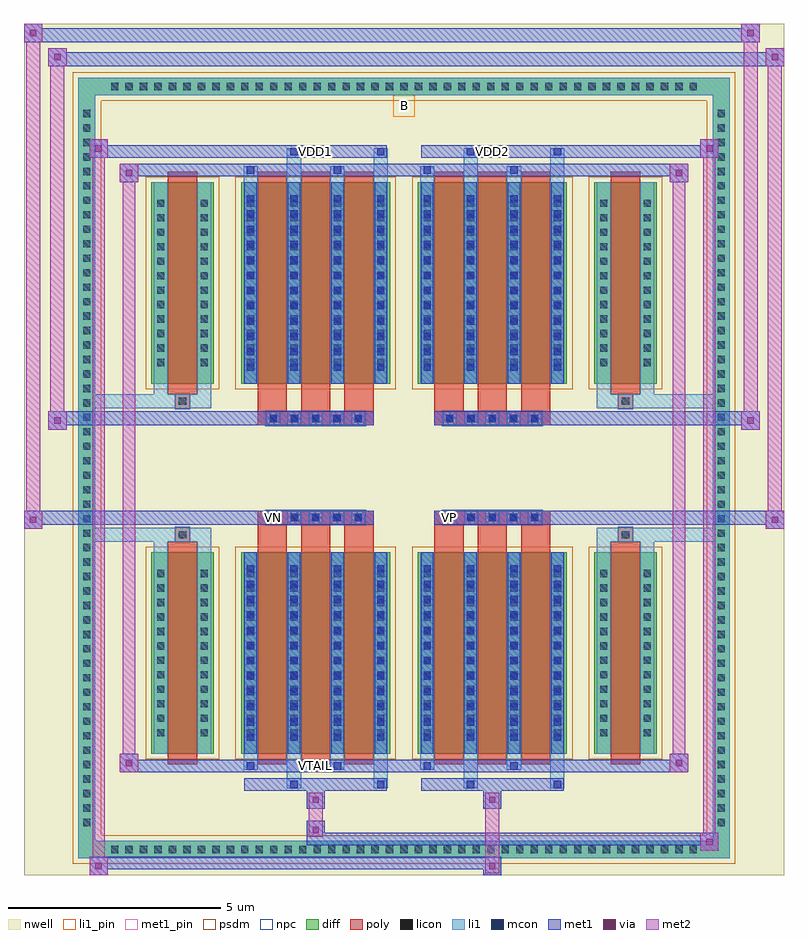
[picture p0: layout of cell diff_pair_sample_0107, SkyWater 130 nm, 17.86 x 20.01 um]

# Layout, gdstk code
import gdstk
lib = gdstk.Library(unit=1e-6, precision=5e-09)
def R(c, l, rs):  # rectangles x0, y0, x1, y1
    for r in rs: c.add(gdstk.rectangle(r[:2], r[2:], *l))
def A(c, l, x, y, w, h, nx, ny, dx, dy):  # array of equal rectangles
    R(c, l, [(x+i*dx, y+j*dy, x+i*dx+w, y+j*dy+h) for i in range(nx) for j in range(ny)])
def P(c, l, *ps):  # polygons
    for p in ps: c.add(gdstk.Polygon(p, *l))
nwell = (64, 20)
diff = (65, 20)
poly = (66, 20)
licon = (66, 44)
li1_pin = (67, 16)
li1 = (67, 20)
mcon = (67, 44)
met1_pin = (68, 16)
met1 = (68, 20)
via = (68, 44)
met2 = (69, 20)
psdm = (94, 20)
npc = (95, 20)

diff_pair_sample_0107 = lib.new_cell('diff_pair_sample_0107')
R(diff_pair_sample_0107, nwell, [(-8.93,-9.57,8.93,10.44), (-6.25,-7.76,-0.01,-0.8), (0.01,-7.76,6.25,-0.8), (-6.25,0.8,-0.01,7.76), (0.01,0.8,6.25,7.76)])
A(diff_pair_sample_0107, diff, -7.005, -9.17, 0.41, 0.41, 41, 2, 0.34, 17.93)
A(diff_pair_sample_0107, diff, -7.66, -8.535, 0.41, 0.41, 1, 50, 0, 0.34)
A(diff_pair_sample_0107, diff, 7.25, -8.535, 0.41, 0.41, 1, 50, 0, 0.34)
R(diff_pair_sample_0107, diff, [(-7.005,-9.17,7.005,-8.76), (-7.66,-8.535,-7.25,8.535), (7.25,-8.535,7.66,8.535), (-5.94,-6.715,-4.47,-1.985), (-3.83,-6.715,-0.32,-1.985), (0.32,-6.715,3.83,-1.985), (4.47,-6.715,5.94,-1.985), (-5.94,1.985,-4.47,6.715), (-3.83,1.985,-0.32,6.715), (0.32,1.985,3.83,6.715), (4.47,1.985,5.94,6.715), (-7.005,8.76,7.005,9.17)])
P(diff_pair_sample_0107, diff, [(7.66,9.17),(-7.66,9.17),(-7.66,-8.76),(-7.25,-8.76),(-7.25,8.76),(7.25,8.76),(7.25,-8.76),(-7.25,-8.76),(-7.66,-8.76),(-7.66,-9.17),(7.66,-9.17)])
A(diff_pair_sample_0107, poly, -3.44, -6.965, 0.69, 5.23, 3, 2, 1.02, 8.7)
A(diff_pair_sample_0107, poly, 0.71, -6.965, 0.69, 5.23, 3, 2, 1.02, 8.7)
A(diff_pair_sample_0107, poly, -3.44, -1.735, 0.69, 0.405, 3, 2, 1.02, 3.065)
A(diff_pair_sample_0107, poly, 0.71, -1.735, 0.69, 0.405, 3, 2, 1.02, 3.065)
A(diff_pair_sample_0107, poly, -3.24, -1.33, 0.33, 0.33, 5, 2, 0.5, 2.33)
A(diff_pair_sample_0107, poly, 0.91, -1.33, 0.33, 0.33, 5, 2, 0.5, 2.33)
R(diff_pair_sample_0107, poly, [(-5.55,-6.965,-4.86,-1.735), (4.86,-6.965,5.55,-1.735), (-5.37,-1.735,-5.04,-1.405), (-5.37,-1.735,-5.04,-1.405), (5.04,-1.735,5.37,-1.405), (5.04,-1.735,5.37,-1.405), (-3.44,-1.33,-0.71,-1), (0.71,-1.33,3.44,-1), (-3.44,1,-0.71,1.33), (0.71,1,3.44,1.33), (-5.37,1.405,-5.04,1.735), (-5.37,1.405,-5.04,1.735), (5.04,1.405,5.37,1.735), (5.04,1.405,5.37,1.735), (-5.55,1.735,-4.86,6.965), (4.86,1.735,5.55,6.965)])
A(diff_pair_sample_0107, licon, -6.885, -9.05, 0.17, 0.17, 41, 2, 0.34, 17.93)
A(diff_pair_sample_0107, licon, -7.54, -8.415, 0.17, 0.17, 1, 50, 0, 0.34)
A(diff_pair_sample_0107, licon, 7.37, -8.415, 0.17, 0.17, 1, 50, 0, 0.34)
A(diff_pair_sample_0107, licon, -5.8, -6.305, 0.17, 0.17, 1, 12, 0, 0.34)
A(diff_pair_sample_0107, licon, -4.78, -6.305, 0.17, 0.17, 1, 12, 0, 0.34)
A(diff_pair_sample_0107, licon, -3.69, -6.305, 0.17, 0.17, 4, 12, 1.02, 0.34)
A(diff_pair_sample_0107, licon, 0.46, -6.305, 0.17, 0.17, 4, 12, 1.02, 0.34)
A(diff_pair_sample_0107, licon, 4.61, -6.305, 0.17, 0.17, 1, 12, 0, 0.34)
A(diff_pair_sample_0107, licon, 5.63, -6.305, 0.17, 0.17, 1, 12, 0, 0.34)
A(diff_pair_sample_0107, licon, -3.16, -1.25, 0.17, 0.17, 5, 2, 0.5, 2.33)
A(diff_pair_sample_0107, licon, 0.99, -1.25, 0.17, 0.17, 5, 2, 0.5, 2.33)
A(diff_pair_sample_0107, licon, -5.8, 2.395, 0.17, 0.17, 1, 12, 0, 0.34)
A(diff_pair_sample_0107, licon, -4.78, 2.395, 0.17, 0.17, 1, 12, 0, 0.34)
A(diff_pair_sample_0107, licon, -3.69, 2.395, 0.17, 0.17, 4, 12, 1.02, 0.34)
A(diff_pair_sample_0107, licon, 0.46, 2.395, 0.17, 0.17, 4, 12, 1.02, 0.34)
A(diff_pair_sample_0107, licon, 4.61, 2.395, 0.17, 0.17, 1, 12, 0, 0.34)
A(diff_pair_sample_0107, licon, 5.63, 2.395, 0.17, 0.17, 1, 12, 0, 0.34)
R(diff_pair_sample_0107, licon, [(-5.29,-1.655,-5.12,-1.485), (5.12,-1.655,5.29,-1.485), (-5.29,1.485,-5.12,1.655), (5.12,1.485,5.29,1.655)])
R(diff_pair_sample_0107, li1_pin, [(-0.25,8.26,0.25,8.76)])
A(diff_pair_sample_0107, li1, -6.965, -9.13, 0.33, 0.33, 41, 2, 0.34, 17.93)
A(diff_pair_sample_0107, li1, -7.62, -8.495, 0.33, 0.33, 1, 50, 0, 0.34)
A(diff_pair_sample_0107, li1, 7.29, -8.495, 0.33, 0.33, 1, 50, 0, 0.34)
A(diff_pair_sample_0107, li1, -3.77, -6.715, 0.33, 4.73, 4, 2, 1.02, 8.7)
A(diff_pair_sample_0107, li1, 0.38, -6.715, 0.33, 4.73, 4, 2, 1.02, 8.7)
A(diff_pair_sample_0107, li1, -3.69, -6.415, 0.17, 0.17, 4, 12, 1.02, 0.36)
A(diff_pair_sample_0107, li1, -3.69, -6.415, 0.17, 4.13, 4, 2, 1.02, 8.7)
A(diff_pair_sample_0107, li1, 0.46, -6.415, 0.17, 0.17, 4, 12, 1.02, 0.36)
A(diff_pair_sample_0107, li1, 0.46, -6.415, 0.17, 4.13, 4, 2, 1.02, 8.7)
A(diff_pair_sample_0107, li1, -5.88, -6.385, 0.33, 0.33, 1, 12, 0, 0.34)
A(diff_pair_sample_0107, li1, -4.86, -6.385, 0.33, 0.33, 1, 12, 0, 0.34)
A(diff_pair_sample_0107, li1, -3.77, -6.385, 0.33, 0.33, 4, 12, 1.02, 0.34)
A(diff_pair_sample_0107, li1, 0.38, -6.385, 0.33, 0.33, 4, 12, 1.02, 0.34)
A(diff_pair_sample_0107, li1, 4.53, -6.385, 0.33, 0.33, 1, 12, 0, 0.34)
A(diff_pair_sample_0107, li1, 5.55, -6.385, 0.33, 0.33, 1, 12, 0, 0.34)
A(diff_pair_sample_0107, li1, -3.24, -1.33, 0.33, 0.33, 5, 2, 0.5, 2.33)
A(diff_pair_sample_0107, li1, 0.91, -1.33, 0.33, 0.33, 5, 2, 0.5, 2.33)
A(diff_pair_sample_0107, li1, -3.69, 2.285, 0.17, 0.17, 4, 12, 1.02, 0.36)
A(diff_pair_sample_0107, li1, 0.46, 2.285, 0.17, 0.17, 4, 12, 1.02, 0.36)
A(diff_pair_sample_0107, li1, -5.88, 2.315, 0.33, 0.33, 1, 12, 0, 0.34)
A(diff_pair_sample_0107, li1, -4.86, 2.315, 0.33, 0.33, 1, 12, 0, 0.34)
A(diff_pair_sample_0107, li1, -3.77, 2.315, 0.33, 0.33, 4, 12, 1.02, 0.34)
A(diff_pair_sample_0107, li1, 0.38, 2.315, 0.33, 0.33, 4, 12, 1.02, 0.34)
A(diff_pair_sample_0107, li1, 4.53, 2.315, 0.33, 0.33, 1, 12, 0, 0.34)
A(diff_pair_sample_0107, li1, 5.55, 2.315, 0.33, 0.33, 1, 12, 0, 0.34)
R(diff_pair_sample_0107, li1, [(-7.66,-9.17,-7.25,-8.76), (-7.66,-9.17,-7.25,-8.76), (-7.25,-9.17,7.25,-8.76), (7.25,-9.17,7.66,-8.76), (7.25,-9.17,7.66,-8.76), (-7.66,-8.76,-7.25,8.76), (7.25,-8.76,7.66,8.76), (-2.75,-7.52,-2.42,-6.715), (-2.67,-7.52,-2.5,-7.35), (-0.71,-7.52,-0.38,-6.715), (-0.63,-7.52,-0.46,-7.35), (1.4,-7.52,1.73,-6.715), (1.48,-7.52,1.65,-7.35), (3.44,-7.52,3.77,-6.715), (3.52,-7.52,3.69,-7.35), (-3.77,-7.09,-3.44,-6.715), (-3.69,-7.09,-3.52,-6.92), (-1.73,-7.09,-1.4,-6.715), (-1.65,-7.09,-1.48,-6.92), (0.38,-7.09,0.71,-6.715), (0.46,-7.09,0.63,-6.92), (2.42,-7.09,2.75,-6.715), (2.5,-7.09,2.67,-6.92), (-5.88,-6.715,-5.55,-1.985), (-4.86,-6.715,-4.53,-1.985), (4.53,-6.715,4.86,-1.985), (5.55,-6.715,5.88,-1.985), (-5.88,-1.985,-5.55,-1.405), (-4.86,-1.985,-4.53,-1.405), (4.53,-1.985,4.86,-1.405), (5.55,-1.985,5.88,-1.405), (-7.66,-1.735,-5.37,-1.405), (-5.88,-1.735,-5.37,-1.405), (-5.37,-1.735,-5.04,-1.405), (-5.04,-1.735,-4.53,-1.405), (4.53,-1.735,5.04,-1.405), (5.04,-1.735,5.37,-1.405), (5.04,-1.735,7.66,-1.405), (5.37,-1.735,5.88,-1.405), (-7.66,1.405,-5.37,1.735), (-5.88,1.405,-5.37,1.735), (-5.88,1.405,-5.55,1.985), (-5.37,1.405,-5.04,1.735), (-5.04,1.405,-4.53,1.735), (-4.86,1.405,-4.53,1.985), (4.53,1.405,5.04,1.735), (4.53,1.405,4.86,1.985), (5.04,1.405,5.37,1.735), (5.04,1.405,7.66,1.735), (5.37,1.405,5.88,1.735), (5.55,1.405,5.88,1.985), (-5.88,1.985,-5.55,6.715), (-4.86,1.985,-4.53,6.715), (4.53,1.985,4.86,6.715), (5.55,1.985,5.88,6.715), (-3.77,6.715,-3.44,7.09), (-2.75,6.715,-2.42,7.52), (-1.73,6.715,-1.4,7.09), (-0.71,6.715,-0.38,7.52), (0.38,6.715,0.71,7.09), (1.4,6.715,1.73,7.52), (2.42,6.715,2.75,7.09), (3.44,6.715,3.77,7.52), (-3.69,6.92,-3.52,7.09), (-1.65,6.92,-1.48,7.09), (0.46,6.92,0.63,7.09), (2.5,6.92,2.67,7.09), (-2.67,7.35,-2.5,7.52), (-0.63,7.35,-0.46,7.52), (1.48,7.35,1.65,7.52), (3.52,7.35,3.69,7.52), (-7.66,8.76,-7.25,9.17), (-7.66,8.76,-7.25,9.17), (-7.25,8.76,7.25,9.17), (7.25,8.76,7.66,9.17), (7.25,8.76,7.66,9.17)])
A(diff_pair_sample_0107, mcon, -3.69, -6.415, 0.17, 0.17, 4, 12, 1.02, 0.36)
A(diff_pair_sample_0107, mcon, 0.46, -6.415, 0.17, 0.17, 4, 12, 1.02, 0.36)
A(diff_pair_sample_0107, mcon, -3.16, -1.25, 0.17, 0.17, 5, 2, 0.5, 2.33)
A(diff_pair_sample_0107, mcon, 0.99, -1.25, 0.17, 0.17, 5, 2, 0.5, 2.33)
A(diff_pair_sample_0107, mcon, -3.69, 2.285, 0.17, 0.17, 4, 12, 1.02, 0.36)
A(diff_pair_sample_0107, mcon, 0.46, 2.285, 0.17, 0.17, 4, 12, 1.02, 0.36)
R(diff_pair_sample_0107, mcon, [(-2.67,-7.52,-2.5,-7.35), (-0.63,-7.52,-0.46,-7.35), (1.48,-7.52,1.65,-7.35), (3.52,-7.52,3.69,-7.35), (-3.69,-7.09,-3.52,-6.92), (-1.65,-7.09,-1.48,-6.92), (0.46,-7.09,0.63,-6.92), (2.5,-7.09,2.67,-6.92), (-3.69,6.92,-3.52,7.09), (-1.65,6.92,-1.48,7.09), (0.46,6.92,0.63,7.09), (2.5,6.92,2.67,7.09), (-2.67,7.35,-2.5,7.52), (-0.63,7.35,-0.46,7.52), (1.48,7.35,1.65,7.52), (3.52,7.35,3.69,7.52)])
R(diff_pair_sample_0107, met1_pin, [(-2.21,-7.13,-1.94,-6.86), (-3.21,-1.29,-2.94,-1.02), (0.94,-1.29,1.21,-1.02), (-2.21,7.31,-1.94,7.58), (1.94,7.31,2.21,7.58)])
A(diff_pair_sample_0107, met1, -3.75, -6.715, 0.29, 4.73, 4, 2, 1.02, 8.7)
A(diff_pair_sample_0107, met1, 0.4, -6.715, 0.29, 4.73, 4, 2, 1.02, 8.7)
A(diff_pair_sample_0107, met1, -3.75, -6.475, 0.29, 0.29, 4, 12, 1.02, 0.36)
A(diff_pair_sample_0107, met1, 0.4, -6.475, 0.29, 0.29, 4, 12, 1.02, 0.36)
A(diff_pair_sample_0107, met1, -3.22, -1.31, 0.29, 0.29, 5, 2, 0.5, 2.33)
A(diff_pair_sample_0107, met1, 0.93, -1.31, 0.29, 0.29, 5, 2, 0.5, 2.33)
A(diff_pair_sample_0107, met1, -3.75, 2.225, 0.29, 0.29, 4, 12, 1.02, 0.36)
A(diff_pair_sample_0107, met1, 0.4, 2.225, 0.29, 0.29, 4, 12, 1.02, 0.36)
R(diff_pair_sample_0107, met1, [(-7.39,-9.57,-6.96,-9.14), (1.86,-9.57,2.29,-9.14), (-7.39,-9.43,2.29,-9.14), (6.96,-9,7.39,-8.57), (-2.29,-8.86,7.39,-8.57), (-2.29,-8.72,-1.86,-8.29), (-2.29,-8.01,-1.86,-7.58), (1.86,-8.01,2.29,-7.58), (-3.75,-7.58,-0.4,-7.29), (-2.73,-7.58,-2.44,-7.29), (-0.69,-7.58,-0.4,-7.29), (0.4,-7.58,3.75,-7.29), (1.42,-7.58,1.71,-7.29), (3.46,-7.58,3.75,-7.29), (-6.68,-7.15,-6.25,-6.72), (-6.68,-7.15,-3.75,-6.86), (-3.75,-7.15,-3.46,-6.86), (-3.75,-7.15,-0.4,-6.86), (-1.71,-7.15,-1.42,-6.86), (-0.4,-7.15,0.4,-6.86), (0.4,-7.15,0.69,-6.86), (0.4,-7.15,3.75,-6.86), (2.44,-7.15,2.73,-6.86), (3.75,-7.15,6.68,-6.86), (6.25,-7.15,6.68,-6.72), (-8.93,-1.43,-8.5,-1), (8.5,-1.43,8.93,-1), (-8.93,-1.33,-0.71,-1), (-3.44,-1.33,-0.71,-1), (0.71,-1.33,3.44,-1), (0.71,-1.33,8.93,-1), (-8.36,0.9,-7.93,1.33), (7.93,0.9,8.36,1.33), (-8.36,1,-3.44,1.33), (-3.44,1,-0.71,1.33), (0.71,1,3.44,1.33), (3.44,1,8.36,1.33), (-6.68,6.72,-6.25,7.15), (6.25,6.72,6.68,7.15), (-6.68,6.86,-3.75,7.15), (-3.75,6.86,-3.46,7.15), (-3.75,6.86,-0.4,7.15), (-1.71,6.86,-1.42,7.15), (-0.4,6.86,0.4,7.15), (0.4,6.86,0.69,7.15), (0.4,6.86,3.75,7.15), (2.44,6.86,2.73,7.15), (3.75,6.86,6.68,7.15), (-7.39,7.29,-6.96,7.72), (-7.39,7.29,-3.75,7.58), (-3.75,7.29,-0.4,7.58), (-2.73,7.29,-2.44,7.58), (-0.69,7.29,-0.4,7.58), (0.4,7.29,3.75,7.58), (1.42,7.29,1.71,7.58), (3.46,7.29,3.75,7.58), (3.75,7.29,7.39,7.58), (6.96,7.29,7.39,7.72), (-8.36,9.44,-7.93,9.87), (-8.36,9.44,-6.25,9.77), (-6.25,9.44,6.25,9.77), (6.25,9.44,8.93,9.77), (8.5,9.44,8.93,9.87), (-8.93,10.01,-8.5,10.44), (-8.93,10.01,-6.25,10.34), (-6.25,10.01,6.25,10.34), (6.25,10.01,8.36,10.34), (7.93,10.01,8.36,10.44)])
R(diff_pair_sample_0107, via, [(-7.25,-9.43,-7.1,-9.28), (2,-9.43,2.15,-9.28), (7.1,-8.86,7.25,-8.71), (-2.15,-8.58,-2,-8.43), (-2.15,-7.87,-2,-7.72), (2,-7.87,2.15,-7.72), (-6.54,-7.01,-6.39,-6.86), (6.39,-7.01,6.54,-6.86), (-8.79,-1.29,-8.64,-1.14), (8.64,-1.29,8.79,-1.14), (-8.22,1.04,-8.07,1.19), (8.07,1.04,8.22,1.19), (-6.54,6.86,-6.39,7.01), (6.39,6.86,6.54,7.01), (-7.25,7.43,-7.1,7.58), (7.1,7.43,7.25,7.58), (-8.22,9.58,-8.07,9.73), (8.64,9.58,8.79,9.73), (-8.79,10.15,-8.64,10.3), (8.07,10.15,8.22,10.3)])
R(diff_pair_sample_0107, met2, [(-7.39,-9.57,-6.96,-9.14), (-7.32,-9.57,-7.03,7.72), (-7.03,-9.57,-6.96,-9.14), (-7.34,-9.52,-7.01,-9.19), (1.91,-9.52,2.24,-9.19), (1.91,-9.19,2.24,-7.96), (6.96,-9,7.39,-8.57), (7.03,-9,7.32,7.72), (7.32,-9,7.39,-8.57), (7.01,-8.95,7.34,-8.62), (-2.24,-8.67,-1.91,-8.34), (-2.24,-8.34,-1.91,-7.96), (-2.24,-7.96,-1.91,-7.63), (1.91,-7.96,2.24,-7.63), (-6.68,-7.15,-6.25,-6.72), (-6.61,-7.15,-6.32,7.15), (-6.32,-7.15,-6.25,-6.72), (6.25,-7.15,6.68,-6.72), (6.32,-7.15,6.61,7.15), (6.61,-7.15,6.68,-6.72), (-6.63,-7.1,-6.3,-6.77), (6.3,-7.1,6.63,-6.77), (-8.93,-1.43,-8.5,-1), (-8.88,-1.43,-8.55,10.44), (-8.55,-1.43,-8.5,-1), (8.5,-1.43,8.93,-1), (8.55,-1.43,8.88,9.87), (8.88,-1.43,8.93,-1), (-8.88,-1.38,-8.55,-1.05), (8.55,-1.38,8.88,-1.05), (-8.36,0.9,-7.93,1.33), (-8.31,0.9,-7.98,9.87), (-7.98,0.9,-7.93,1.33), (7.93,0.9,8.36,1.33), (7.98,0.9,8.31,10.44), (8.31,0.9,8.36,1.33), (-8.31,0.95,-7.98,1.28), (7.98,0.95,8.31,1.28), (-6.68,6.72,-6.25,7.15), (-6.32,6.72,-6.25,7.15), (6.25,6.72,6.68,7.15), (6.61,6.72,6.68,7.15), (-6.63,6.77,-6.3,7.1), (6.3,6.77,6.63,7.1), (-7.39,7.29,-6.96,7.72), (-7.03,7.29,-6.96,7.72), (6.96,7.29,7.39,7.72), (7.32,7.29,7.39,7.72), (-7.34,7.34,-7.01,7.67), (7.01,7.34,7.34,7.67), (-8.36,9.44,-7.93,9.87), (-7.98,9.44,-7.93,9.87), (8.5,9.44,8.93,9.87), (8.88,9.44,8.93,9.87), (-8.31,9.49,-7.98,9.82), (8.55,9.49,8.88,9.82), (-8.93,10.01,-8.5,10.44), (-8.55,10.01,-8.5,10.44), (7.93,10.01,8.36,10.44), (8.31,10.01,8.36,10.44), (-8.88,10.06,-8.55,10.39), (7.98,10.06,8.31,10.39)])
R(diff_pair_sample_0107, psdm, [(-6.07,-6.845,-4.34,-1.855), (-3.96,-6.845,-0.19,-1.855), (0.19,-6.845,3.96,-1.855), (4.34,-6.845,6.07,-1.855), (-6.07,1.855,-4.34,6.845), (-3.96,1.855,-0.19,6.845), (0.19,1.855,3.96,6.845), (4.34,1.855,6.07,6.845)])
P(diff_pair_sample_0107, psdm, [(7.79,9.3),(-7.79,9.3),(-7.79,-8.63),(-7.12,-8.63),(-7.12,8.63),(7.12,8.63),(7.12,-8.63),(-7.12,-8.63),(-7.79,-8.63),(-7.79,-9.3),(7.79,-9.3)])
A(diff_pair_sample_0107, npc, -3.26, -1.35, 0.37, 0.37, 5, 2, 0.5, 2.33)
A(diff_pair_sample_0107, npc, 0.89, -1.35, 0.37, 0.37, 5, 2, 0.5, 2.33)
R(diff_pair_sample_0107, npc, [(-5.39,-1.755,-5.02,-1.385), (5.02,-1.755,5.39,-1.385), (-3.26,-1.35,-2.39,-0.98), (-3.26,-1.35,-2.39,-0.98), (-2.76,-1.35,-1.89,-0.98), (-2.76,-1.35,-1.89,-0.98), (-2.26,-1.35,-1.39,-0.98), (-2.26,-1.35,-1.39,-0.98), (-1.76,-1.35,-0.89,-0.98), (-1.76,-1.35,-0.89,-0.98), (0.89,-1.35,1.76,-0.98), (0.89,-1.35,1.76,-0.98), (1.39,-1.35,2.26,-0.98), (1.39,-1.35,2.26,-0.98), (1.89,-1.35,2.76,-0.98), (1.89,-1.35,2.76,-0.98), (2.39,-1.35,3.26,-0.98), (2.39,-1.35,3.26,-0.98), (-3.26,0.98,-2.39,1.35), (-3.26,0.98,-2.39,1.35), (-2.76,0.98,-1.89,1.35), (-2.76,0.98,-1.89,1.35), (-2.26,0.98,-1.39,1.35), (-2.26,0.98,-1.39,1.35), (-1.76,0.98,-0.89,1.35), (-1.76,0.98,-0.89,1.35), (0.89,0.98,1.76,1.35), (0.89,0.98,1.76,1.35), (1.39,0.98,2.26,1.35), (1.39,0.98,2.26,1.35), (1.89,0.98,2.76,1.35), (1.89,0.98,2.76,1.35), (2.39,0.98,3.26,1.35), (2.39,0.98,3.26,1.35), (-5.39,1.385,-5.02,1.755), (5.02,1.385,5.39,1.755)])
diff_pair_sample_0107.add(gdstk.Label('VTAIL', (-2.075,-6.995), layer=68, texttype=5))
diff_pair_sample_0107.add(gdstk.Label('VN', (-3.075,-1.155), layer=68, texttype=5))
diff_pair_sample_0107.add(gdstk.Label('VP', (1.075,-1.155), layer=68, texttype=5))
diff_pair_sample_0107.add(gdstk.Label('B', (0,8.51), layer=67, texttype=5))
diff_pair_sample_0107.add(gdstk.Label('VDD2', (2.075,7.445), layer=68, texttype=5))
diff_pair_sample_0107.add(gdstk.Label('VDD1', (-2.075,7.445), layer=68, texttype=5))

lib.write_gds('diff_pair_sample_0107.gds')
